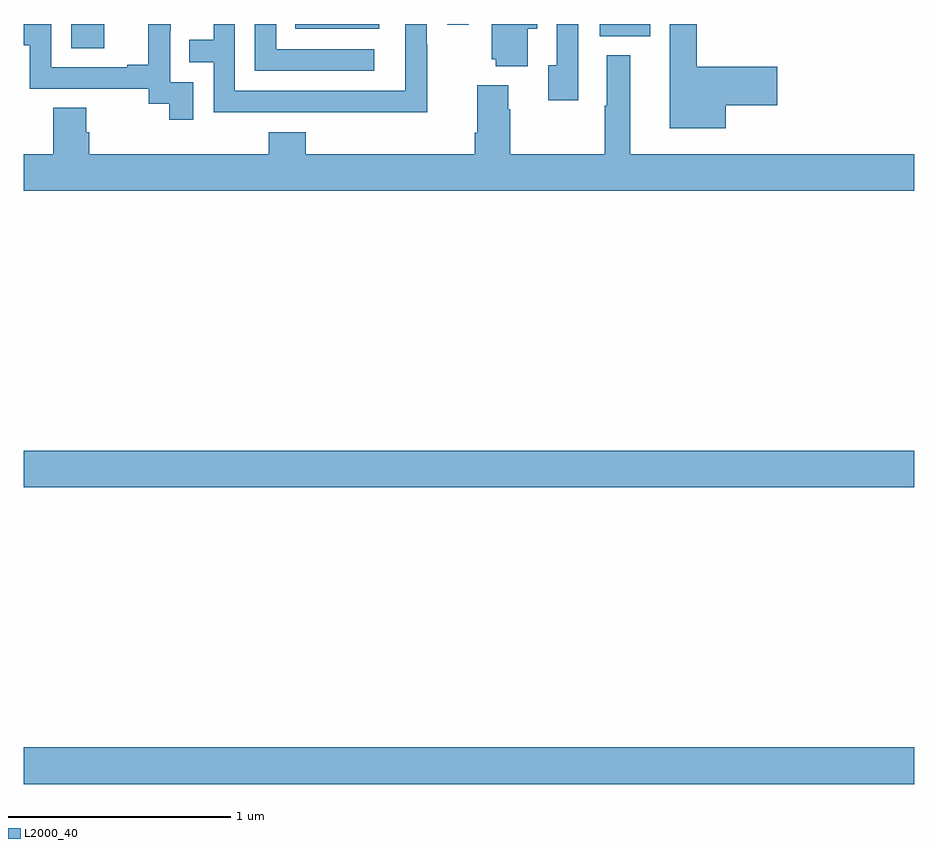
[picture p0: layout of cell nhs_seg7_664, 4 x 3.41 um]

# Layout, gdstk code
import gdstk
lib = gdstk.Library(unit=1e-6, precision=1e-09)
def R(c, l, rs):  # rectangles x0, y0, x1, y1
    for r in rs: c.add(gdstk.rectangle(r[:2], r[2:], *l))
def P(c, l, *ps):  # polygons
    for p in ps: c.add(gdstk.Polygon(p, *l))
L2000_40 = (2000, 40)

nhs_seg7_664 = lib.new_cell('nhs_seg7_664')
R(nhs_seg7_664, L2000_40, [(161,1028.588,165,1028.752), (161,1029.92,165,1030.084), (161.214,1031.892,161.362,1032), (163.586,1031.945,163.813,1032), (162.22,1031.978,162.598,1032), (162.903,1031.997,162.999,1032)])
P(nhs_seg7_664, L2000_40, [(161.763,1031.739),(161.658,1031.739),(161.658,1031.969),(161.66,1031.969),(161.66,1032),(161.561,1032),(161.561,1031.818),(161.465,1031.818),(161.465,1031.805),(161.124,1031.805),(161.124,1032),(161,1032),(161,1031.904),(161.028,1031.904),(161.028,1031.709),(161.562,1031.709),(161.562,1031.641),(161.655,1031.641),(161.655,1031.571),(161.763,1031.571)],
  [(162.574,1031.886),(162.135,1031.886),(162.135,1032),(162.039,1032),(162.039,1031.79),(162.574,1031.79)],
  [(162.813,1031.909),(162.81,1031.909),(162.81,1032),(162.714,1032),(162.714,1031.7),(161.949,1031.7),(161.949,1032),(161.853,1032),(161.853,1031.93),(161.743,1031.93),(161.743,1031.829),(161.853,1031.829),(161.853,1031.604),(162.349,1031.604),(162.349,1031.603),(162.813,1031.603)],
  [(164.152,1031.636),(164.383,1031.636),(164.383,1031.807),(164.023,1031.807),(164.023,1032),(163.901,1032),(163.901,1031.531),(164.152,1031.531)],
  [(163.264,1031.978),(163.306,1031.978),(163.306,1032),(163.103,1032),(163.103,1031.841),(163.121,1031.841),(163.121,1031.81),(163.264,1031.81)],
  [(163.491,1032),(163.395,1032),(163.395,1031.814),(163.355,1031.814),(163.355,1031.658),(163.491,1031.658)],
  [(165,1031.416),(163.723,1031.416),(163.723,1031.86),(163.619,1031.86),(163.619,1031.632),(163.609,1031.632),(163.609,1031.416),(163.185,1031.416),(163.185,1031.618),(163.177,1031.618),(163.177,1031.725),(163.037,1031.725),(163.037,1031.512),(163.025,1031.512),(163.025,1031.416),(162.266,1031.416),(162.266,1031.515),(162.101,1031.515),(162.101,1031.416),(161.294,1031.416),(161.294,1031.514),(161.281,1031.514),(161.281,1031.624),(161.134,1031.624),(161.134,1031.416),(161,1031.416),(161,1031.252),(165,1031.252)])

lib.write_gds('nhs_seg7_664.gds')
